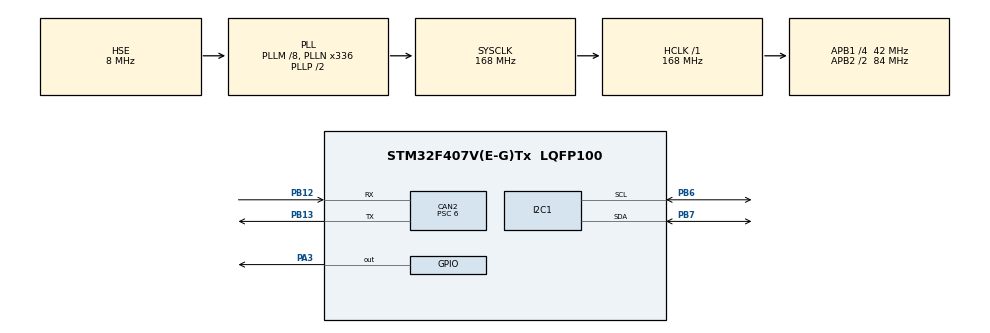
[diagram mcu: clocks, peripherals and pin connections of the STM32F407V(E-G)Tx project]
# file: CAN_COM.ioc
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CAN2.BS1=CAN_BS1_11TQ
CAN2.BS2=CAN_BS2_2TQ
CAN2.CalculateBaudRate=500000
CAN2.CalculateTimeBit=2000
CAN2.CalculateTimeQuantum=142.85714285714286
CAN2.Prescaler=6
I2C1.I2C_Mode=I2C_Fast
Mcu.Family=STM32F4
Mcu.Name=STM32F407V(E-G)Tx
Mcu.Package=LQFP100
NVIC.PriorityGroup=NVIC_PRIORITYGROUP_0
PA3.Signal=GPIO_Output
PB12.Mode=CAN_Activate
PB12.Signal=CAN2_RX
PB13.Mode=CAN_Activate
PB13.Signal=CAN2_TX
PB6.Mode=I2C
PB6.Signal=I2C1_SCL
PB7.Mode=I2C
PB7.Signal=I2C1_SDA
PH0-OSC_IN.Mode=HSE-External-Oscillator
PH0-OSC_IN.Signal=RCC_OSC_IN
PH1-OSC_OUT.Mode=HSE-External-Oscillator
PH1-OSC_OUT.Signal=RCC_OSC_OUT
ProjectManager.HeapSize=0x200
ProjectManager.StackSize=0x400
ProjectManager.TargetToolchain=STM32CubeIDE
RCC.48MHZClocksFreq_Value=48000000
RCC.AHBFreq_Value=168000000
RCC.APB1CLKDivider=RCC_HCLK_DIV4
RCC.APB1Freq_Value=42000000
RCC.APB1TimFreq_Value=84000000
RCC.APB2CLKDivider=RCC_HCLK_DIV2
RCC.APB2Freq_Value=84000000
RCC.APB2TimFreq_Value=168000000
RCC.CortexFreq_Value=168000000
RCC.HCLKFreq_Value=168000000
RCC.HSE_VALUE=8000000
RCC.HSI_VALUE=16000000
RCC.LSE_VALUE=32768
RCC.PLLM=8
RCC.PLLN=336
RCC.PLLQ=7
RCC.PLLSourceVirtual=RCC_PLLSOURCE_HSE
RCC.SYSCLKFreq_VALUE=168000000
RCC.SYSCLKSource=RCC_SYSCLKSOURCE_PLLCLK
RCC.VCOOutputFreq_Value=336000000
board=STM32F407G-DISC1

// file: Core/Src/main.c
/* USER CODE BEGIN Header */
/**
  ******************************************************************************
  * @file           : main.c
  * @brief          : Main program body
  ******************************************************************************
  * @attention
  *
  * Copyright (c) 2025 STMicroelectronics.
  * All rights reserved.
  *
  * This software is licensed under terms that can be found in the LICENSE file
  * in the root directory of this software component.
  * If no LICENSE file comes with this software, it is provided AS-IS.
  *
  ******************************************************************************
  */
/* USER CODE END Header */
#include "main.h"

CAN_HandleTypeDef hcan2;

I2C_HandleTypeDef hi2c1;

/* USER CODE BEGIN PV */

CAN_TxHeaderTypeDef TxHeader;
uint32_t TxMailbox;
uint8_t TxData[7]; // Gönderilecek veri dizisi (Max 8 byte)
uint8_t sayac = 0;

/* USER CODE END PV */

void SystemClock_Config(void);
static void MX_GPIO_Init(void);
static void MX_CAN2_Init(void);
static void MX_I2C1_Init(void);

/* USER CODE BEGIN 0 */

/* ADXL345 I2C address and registers */
#define ADXL_ADDR        (0x53 << 1) /* 7-bit address 0x53, shifted for HAL (8-bit) */
#define ADXL_REG_POWER_CTL 0x2D
#define ADXL_REG_DATA_FORMAT 0x31
#define ADXL_REG_DATAX0 0x32

static HAL_StatusTypeDef ADXL_Init(void);
static HAL_StatusTypeDef ADXL_ReadXYZ(int16_t *x, int16_t *y, int16_t *z);

static HAL_StatusTypeDef ADXL_Init(void)
{
  uint8_t data;

  /* Set measure bit in POWER_CTL */
  data = 0x08; /* Measure mode */
  if (HAL_I2C_Mem_Write(&hi2c1, ADXL_ADDR, ADXL_REG_POWER_CTL, I2C_MEMADD_SIZE_8BIT, &data, 1, 100) != HAL_OK) {
    return HAL_ERROR;
  }

  /* Set full resolution (optional) in DATA_FORMAT */
  data = 0x08; /* FULL_RES = 1, range = 0 (+/-2g) */
  if (HAL_I2C_Mem_Write(&hi2c1, ADXL_ADDR, ADXL_REG_DATA_FORMAT, I2C_MEMADD_SIZE_8BIT, &data, 1, 100) != HAL_OK) {
    return HAL_ERROR;
  }

  return HAL_OK;
}

static HAL_StatusTypeDef ADXL_ReadXYZ(int16_t *x, int16_t *y, int16_t *z)
{
  uint8_t buf[6];
  if (HAL_I2C_Mem_Read(&hi2c1, ADXL_ADDR, ADXL_REG_DATAX0, I2C_MEMADD_SIZE_8BIT, buf, 6, 100) != HAL_OK) {
    return HAL_ERROR;
  }

  *x = (int16_t)((buf[1] << 8) | buf[0]);
  *y = (int16_t)((buf[3] << 8) | buf[2]);
  *z = (int16_t)((buf[5] << 8) | buf[4]);

  return HAL_OK;
}

/* USER CODE END 0 */

int main(void)
{

  /* USER CODE BEGIN 1 */
	TxHeader.IDE = CAN_ID_STD;
	TxHeader.StdId = 0x103;
	TxHeader.RTR = CAN_RTR_DATA;
	TxHeader.DLC = 7; // Başlangıçta DLC ayarla

  /* USER CODE END 1 */

  /* MCU Configuration--------------------------------------------------------*/

  /* Reset of all peripherals, Initializes the Flash interface and the Systick. */
  HAL_Init();

  /* Configure the system clock */
  SystemClock_Config();

  /* Initialize all configured peripherals */
  MX_GPIO_Init();
  MX_CAN2_Init();
  MX_I2C1_Init();
  /* USER CODE BEGIN 2 */
  if (HAL_CAN_Start(&hcan2) != HAL_OK) {
      Error_Handler();
  }

  /* Başlangıçta ADXL345'i başlat */
  if (ADXL_Init() != HAL_OK) {
    /* ADXL başlatılamadı; hata yönetimi */
    Error_Handler();
  }

  /* USER CODE END 2 */

  /* Infinite loop */
  /* USER CODE BEGIN WHILE */
  while (1)
  {
	  int16_t ax = 0, ay = 0, az = 0;

      if (ADXL_ReadXYZ(&ax, &ay, &az) == HAL_OK) {
        /* Paket: [counter, AX_L, AX_H, AY_L, AY_H, AZ_L, AZ_H] (7 byte) */
        TxData[0] = sayac;
        TxData[1] = (uint8_t)(ax & 0xFF);
        TxData[2] = (uint8_t)((ax >> 8) & 0xFF);
        TxData[3] = (uint8_t)(ay & 0xFF);
        TxData[4] = (uint8_t)((ay >> 8) & 0xFF);
        TxData[5] = (uint8_t)(az & 0xFF);
        TxData[6] = (uint8_t)((az >> 8) & 0xFF);

        if (HAL_CAN_AddTxMessage(&hcan2, &TxHeader, TxData, &TxMailbox) != HAL_OK) {
          /* Gönderme hatası: opsiyonel hata işleme */
        }
      } else {
        /* Okuma hatası: istenirse hata bayrağı koyulabilir */
      }

      sayac++;
      HAL_Delay(1000);

    /* USER CODE END WHILE */

  }
}

void SystemClock_Config(void)
{
  RCC_OscInitTypeDef RCC_OscInitStruct = {0};
  RCC_ClkInitTypeDef RCC_ClkInitStruct = {0};

  /** Configure the main internal regulator output voltage
  */
  __HAL_RCC_PWR_CLK_ENABLE();
  __HAL_PWR_VOLTAGESCALING_CONFIG(PWR_REGULATOR_VOLTAGE_SCALE1);

  /** Initializes the RCC Oscillators according to the specified parameters
  * in the RCC_OscInitTypeDef structure.
  */
  RCC_OscInitStruct.OscillatorType = RCC_OSCILLATORTYPE_HSE;
  RCC_OscInitStruct.HSEState = RCC_HSE_ON;
  RCC_OscInitStruct.PLL.PLLState = RCC_PLL_ON;
  RCC_OscInitStruct.PLL.PLLSource = RCC_PLLSOURCE_HSE;
  RCC_OscInitStruct.PLL.PLLM = 8;
  RCC_OscInitStruct.PLL.PLLN = 336;
  RCC_OscInitStruct.PLL.PLLP = RCC_PLLP_DIV2;
  RCC_OscInitStruct.PLL.PLLQ = 7;
  if (HAL_RCC_OscConfig(&RCC_OscInitStruct) != HAL_OK)
  {
    Error_Handler();
  }

  /** Initializes the CPU, AHB and APB buses clocks
  */
  RCC_ClkInitStruct.ClockType = RCC_CLOCKTYPE_HCLK|RCC_CLOCKTYPE_SYSCLK
                              |RCC_CLOCKTYPE_PCLK1|RCC_CLOCKTYPE_PCLK2;
  RCC_ClkInitStruct.SYSCLKSource = RCC_SYSCLKSOURCE_PLLCLK;
  RCC_ClkInitStruct.AHBCLKDivider = RCC_SYSCLK_DIV1;
  RCC_ClkInitStruct.APB1CLKDivider = RCC_HCLK_DIV4;
  RCC_ClkInitStruct.APB2CLKDivider = RCC_HCLK_DIV2;

  if (HAL_RCC_ClockConfig(&RCC_ClkInitStruct, FLASH_LATENCY_5) != HAL_OK)
  {
    Error_Handler();
  }
}

static void MX_CAN2_Init(void)
{

  hcan2.Instance = CAN2;
  hcan2.Init.Prescaler = 6;
  hcan2.Init.Mode = CAN_MODE_NORMAL;
  hcan2.Init.SyncJumpWidth = CAN_SJW_1TQ;
  hcan2.Init.TimeSeg1 = CAN_BS1_11TQ;
  hcan2.Init.TimeSeg2 = CAN_BS2_2TQ;
  hcan2.Init.TimeTriggeredMode = DISABLE;
  hcan2.Init.AutoBusOff = DISABLE;
  hcan2.Init.AutoWakeUp = DISABLE;
  hcan2.Init.AutoRetransmission = DISABLE;
  hcan2.Init.ReceiveFifoLocked = DISABLE;
  hcan2.Init.TransmitFifoPriority = DISABLE;
  if (HAL_CAN_Init(&hcan2) != HAL_OK)
  {
    Error_Handler();
  }

}

static void MX_I2C1_Init(void)
{

  hi2c1.Instance = I2C1;
  hi2c1.Init.ClockSpeed = 400000;
  hi2c1.Init.DutyCycle = I2C_DUTYCYCLE_2;
  hi2c1.Init.OwnAddress1 = 0;
  hi2c1.Init.AddressingMode = I2C_ADDRESSINGMODE_7BIT;
  hi2c1.Init.DualAddressMode = I2C_DUALADDRESS_DISABLE;
  hi2c1.Init.OwnAddress2 = 0;
  hi2c1.Init.GeneralCallMode = I2C_GENERALCALL_DISABLE;
  hi2c1.Init.NoStretchMode = I2C_NOSTRETCH_DISABLE;
  if (HAL_I2C_Init(&hi2c1) != HAL_OK)
  {
    Error_Handler();
  }

}

static void MX_GPIO_Init(void)
{
  GPIO_InitTypeDef GPIO_InitStruct = {0};

  /* GPIO Ports Clock Enable */
  __HAL_RCC_GPIOH_CLK_ENABLE();
  __HAL_RCC_GPIOA_CLK_ENABLE();
  __HAL_RCC_GPIOB_CLK_ENABLE();

  /*Configure GPIO pin Output Level */
  HAL_GPIO_WritePin(GPIOA, GPIO_PIN_3, GPIO_PIN_RESET);

  /*Configure GPIO pin : PA3 */
  GPIO_InitStruct.Pin = GPIO_PIN_3;
  GPIO_InitStruct.Mode = GPIO_MODE_OUTPUT_PP;
  GPIO_InitStruct.Pull = GPIO_NOPULL;
  GPIO_InitStruct.Speed = GPIO_SPEED_FREQ_LOW;
  HAL_GPIO_Init(GPIOA, &GPIO_InitStruct);

}

void Error_Handler(void)
{
  __disable_irq();
  while (1)
  {
  }
}
